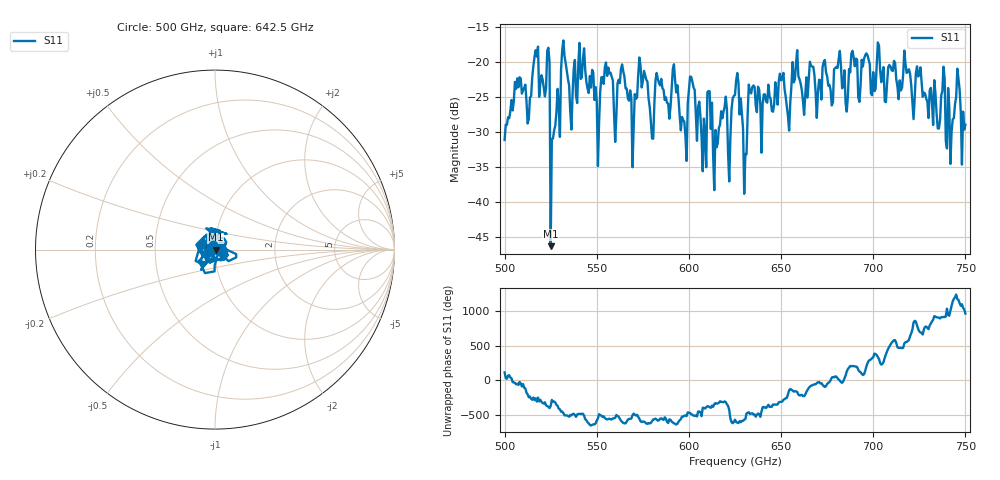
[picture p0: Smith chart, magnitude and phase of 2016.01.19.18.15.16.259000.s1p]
!Created with skrf (http://scikit-rf.org).
# GHz S RI R 50.0
!freq ReS11 ImS11
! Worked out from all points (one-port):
!   401 points, 500 GHz to 750 GHz, reference 50 ohm
!   lowest |S11| = -46.3 dB at 525 GHz (marker M1), VSWR 1.01, Z = 50.5 - j0.0758 ohm
!   |S11| at or under -10 dB: start of sweep to end of sweep
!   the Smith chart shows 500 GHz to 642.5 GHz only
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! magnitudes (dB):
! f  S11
! 500 GHz  -31.2
! 506.9 GHz  -22.4
! 513.1 GHz  -28.1
! 516.9 GHz  -18.3
! 523.1 GHz  -18.4
! 525 GHz  -46.3
! 526.2 GHz  -30.9
! 531.2 GHz  -18.3
! 541.9 GHz  -22.3
! 550 GHz  -25.7
! 562.5 GHz  -23.0
! 568.8 GHz  -25.1
! 574.4 GHz  -23.7
! 580 GHz  -30.9
! 583.1 GHz  -22.4
! 593.8 GHz  -23.3
! 597.5 GHz  -28.5
! 601.9 GHz  -22.8
! 608.1 GHz  -28.1
! 611.2 GHz  -24.2
! 614.4 GHz  -29.7
! 625 GHz  -24.7
! 630.6 GHz  -33.1
! 633.8 GHz  -24.5
! 656.2 GHz  -20.0
! 687.5 GHz  -21.5
! 718.8 GHz  -21.4
! 750 GHz  -29.0
